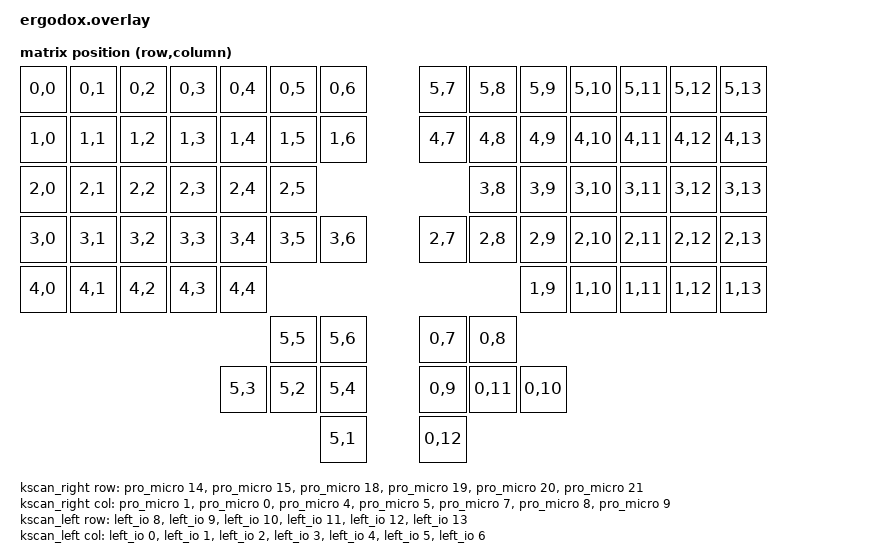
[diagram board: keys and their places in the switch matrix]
/*
 * Copyright (c) 2023 The ZMK Contributors
 *
 * SPDX-License-Identifier: MIT
 */
#include <dt-bindings/zmk/matrix_transform.h>

/ {
    chosen {
        zmk,kscan = &kscan0;
        zmk,matrix_transform = &default_transform;
    };

    kscan0: kscan {
        compatible = "zmk,kscan-composite";
        label = "KSCAN";
        rows = <6>;
        columns = <14>;

        left {
            kscan = <&kscan_left>;
        };

        right {
            kscan = <&kscan_right>;
            column-offset = <7>;
        };
    };

	kscan_right: kscan_right {
		compatible = "zmk,kscan-gpio-matrix";
		label = "KSCAN_RIGHT";

		diode-direction = "row2col";

		col-gpios
		= <&pro_micro 1 (GPIO_ACTIVE_HIGH | GPIO_PULL_DOWN)>
		, <&pro_micro 0 (GPIO_ACTIVE_HIGH | GPIO_PULL_DOWN)>
		, <&pro_micro 4 (GPIO_ACTIVE_HIGH | GPIO_PULL_DOWN)>
		, <&pro_micro 5 (GPIO_ACTIVE_HIGH | GPIO_PULL_DOWN)>
		, <&pro_micro 7 (GPIO_ACTIVE_HIGH | GPIO_PULL_DOWN)>
		, <&pro_micro 8 (GPIO_ACTIVE_HIGH | GPIO_PULL_DOWN)>
		, <&pro_micro 9 (GPIO_ACTIVE_HIGH | GPIO_PULL_DOWN)>
		;
		row-gpios
		= <&pro_micro 14 (GPIO_ACTIVE_HIGH)>
		, <&pro_micro 15 (GPIO_ACTIVE_HIGH)>
		, <&pro_micro 18 (GPIO_ACTIVE_HIGH)>
		, <&pro_micro 19 (GPIO_ACTIVE_HIGH)>
		, <&pro_micro 20 (GPIO_ACTIVE_HIGH)>
		, <&pro_micro 21 (GPIO_ACTIVE_HIGH)>
		;
	};

	kscan_left: kscan_left {
		compatible = "zmk,kscan-gpio-matrix";
		label = "KSCAN_LEFT";

		diode-direction = "col2row";

		col-gpios
		= <&left_io 0 (GPIO_ACTIVE_LOW)>
		, <&left_io 1 (GPIO_ACTIVE_LOW)>
		, <&left_io 2 (GPIO_ACTIVE_LOW)>
		, <&left_io 3 (GPIO_ACTIVE_LOW)>
		, <&left_io 4 (GPIO_ACTIVE_LOW)>
		, <&left_io 5 (GPIO_ACTIVE_LOW)>
		, <&left_io 6 (GPIO_ACTIVE_LOW)>
		;
		row-gpios
		= <&left_io 8  (GPIO_ACTIVE_LOW | GPIO_PULL_UP)>
		, <&left_io 9  (GPIO_ACTIVE_LOW | GPIO_PULL_UP)>
		, <&left_io 10 (GPIO_ACTIVE_LOW | GPIO_PULL_UP)>
		, <&left_io 11 (GPIO_ACTIVE_LOW | GPIO_PULL_UP)>
		, <&left_io 12 (GPIO_ACTIVE_LOW | GPIO_PULL_UP)>
		, <&left_io 13 (GPIO_ACTIVE_LOW | GPIO_PULL_UP)>
		;
	};

     default_transform: keymap_transform_0 {
        compatible = "zmk,matrix-transform";
        rows = <6>;
        columns = <14>;
// |  -  | 1 | 2 | 3 | 4 | 5 | x |        | x | 6 | 7 | 8 | 9 | 0 |  -  |
// |  -  | q | w | e | r | t | l |        | l | y | u | i | 0 | p |  \  |
// |  -  | a | s | d | f | g |                | h | j | k | l | ; |  '  |
// | shft| z | x | c | v | b | l |        | l | n | m | , | . | / | shft|
//   | x | x | x | x | x |                        | x | x | x | x | x |
//                       | x | x |        | x | x |
//                   | l | l | x |        | x | l | l |
//                           | x |        | x |
        map = <
            RC(0,0) RC(0,1) RC(0,2) RC(0,3) RC(0,4) RC(0,5) RC(0,6)         RC(5,7) RC(5,8) RC(5,9) RC(5,10) RC(5,11) RC(5,12) RC(5,13)
            RC(1,0) RC(1,1) RC(1,2) RC(1,3) RC(1,4) RC(1,5) RC(1,6)         RC(4,7) RC(4,8) RC(4,9) RC(4,10) RC(4,11) RC(4,12) RC(4,13)
            RC(2,0) RC(2,1) RC(2,2) RC(2,3) RC(2,4) RC(2,5)                         RC(3,8) RC(3,9) RC(3,10) RC(3,11) RC(3,12) RC(3,13)
            RC(3,0) RC(3,1) RC(3,2) RC(3,3) RC(3,4) RC(3,5) RC(3,6)         RC(2,7) RC(2,8) RC(2,9) RC(2,10) RC(2,11) RC(2,12) RC(2,13)
            RC(4,0) RC(4,1) RC(4,2) RC(4,3) RC(4,4)                                         RC(1,9) RC(1,10) RC(1,11) RC(1,12) RC(1,13)
                                                    RC(5,5) RC(5,6)         RC(0,7) RC(0,8)
                                            RC(5,3) RC(5,2) RC(5,4)         RC(0,9) RC(0,11) RC(0,10)
                                                            RC(5,1)         RC(0,12)
        >;
    };


};

&pro_micro_i2c {
	status = "okay";
	scl-pin = <17>; // only need these 2 lines because I swapped scl and sda
	sda-pin = <20>;

	left_io: mcp230xx@20 {
		compatible = "microchip,mcp230xx";
		status = "okay";
		gpio-controller;
		reg = <0x20>;
		label = "LEFT_IO";
		#gpio-cells = <2>;
		ngpios = <16>;
	};
};
